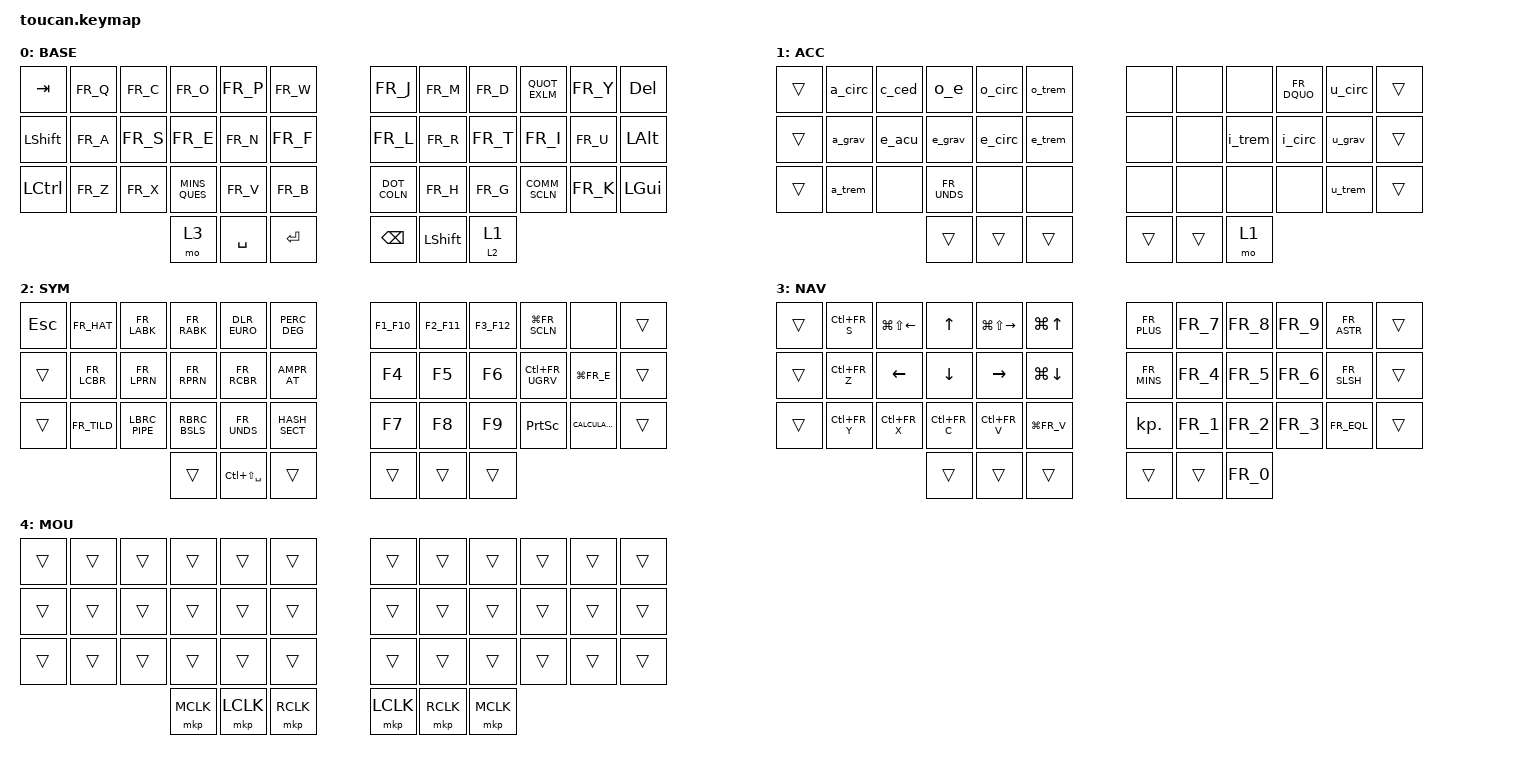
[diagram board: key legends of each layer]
#include <behaviors.dtsi>
#include <dt-bindings/zmk/bt.h>
#include <dt-bindings/zmk/keys.h>
#include <dt-bindings/zmk/pointing.h>
#include "keymap_french.h"

#define BASE 0
#define ACC  1
#define SYM  2
#define NAV  3

&sl {
    // Permet d'utiliser un modificateur (ex : Majuscule) tout en restant sur la couche symbole tant que le modificateur est maintenu.
    /delete-property/ quick-release;
};

/ {

    combos {
        compatible = "zmk,combos";

        unlock {
            bindings = <&studio_unlock>;
            key-positions = <0 11>;
        };
    };

    behaviors {

        // Sélecteur de couche : Mo(ACC) + Sl(SYM)

        mo_sl: behavior_mo_sl {
            compatible = "zmk,behavior-hold-tap";
            #binding-cells = <2>;
            flavor = "balanced";
            tapping-term-ms = <200>;
            bindings = <&mo>, <&sl>;
        };

        // Majuscule + Symboles

        // LS(') = !
        QUOT_EXLM: QUOT_EXLM { compatible = "zmk,behavior-mod-morph"; #binding-cells = <0>;
            bindings = <&kp FR_QUOT>, <&kp FR_EXLM>; mods = <(MOD_LSFT|MOD_RSFT)>; };

        // LS(-) = ?
        MINS_QUES: MINS_QUES { compatible = "zmk,behavior-mod-morph"; #binding-cells = <0>;
            bindings = <&kp FR_MINS>, <&kp FR_QUES>; mods = <(MOD_LSFT|MOD_RSFT)>; };

        // LS(.) = :
        DOT_COLN: DOT_COLN { compatible = "zmk,behavior-mod-morph"; #binding-cells = <0>;
            bindings = <&kp FR_DOT>, <&kp FR_COLN>; mods = <(MOD_LSFT|MOD_RSFT)>; };

        // LS(,) = ;
        COMM_SCLN: COMM_SCLN { compatible = "zmk,behavior-mod-morph"; #binding-cells = <0>;
            bindings = <&kp FR_COMM>, <&kp FR_SCLN>; mods = <(MOD_LSFT|MOD_RSFT)>; };

        // LS($) = €
        DLR_EURO: DLR_EURO { compatible = "zmk,behavior-mod-morph"; #binding-cells = <0>;
            bindings = <&kp FR_DLR>, <&kp FR_EURO>; mods = <(MOD_LSFT|MOD_RSFT)>; };

        // LS(%) = °
        PERC_DEG: PERC_DEG { compatible = "zmk,behavior-mod-morph"; #binding-cells = <0>;
            bindings = <&kp FR_PERC>, <&kp FR_DEG>; mods = <(MOD_LSFT|MOD_RSFT)>; };

        // LS(&) = @
        AMPR_AT: AMPR_AT { compatible = "zmk,behavior-mod-morph"; #binding-cells = <0>;
            bindings = <&kp FR_AMPR>, <&kp FR_AT>; mods = <(MOD_LSFT|MOD_RSFT)>; };

        // LS([) = |
        LBRC_PIPE: LBRC_PIPE { compatible = "zmk,behavior-mod-morph"; #binding-cells = <0>;
            bindings = <&kp FR_LBRC>, <&kp FR_PIPE>; mods = <(MOD_LSFT|MOD_RSFT)>; };

        // LS(]) = backslash
        RBRC_BSLS: RBRC_BSLS { compatible = "zmk,behavior-mod-morph"; #binding-cells = <0>;
            bindings = <&kp FR_RBRC>, <&kp FR_BSLS>; mods = <(MOD_LSFT|MOD_RSFT)>; };

        // LS(#) = §
        HASH_SECT: HASH_SECT { compatible = "zmk,behavior-mod-morph"; #binding-cells = <0>;
            bindings = <&kp FR_HASH>, <&kp FR_SECT>; mods = <(MOD_LSFT|MOD_RSFT)>; };

        // LS(F1) = F10
        F1_F10: F1_F10 { compatible = "zmk,behavior-mod-morph"; #binding-cells = <0>;
            bindings = <&kp F1>, <&kp F10>; mods = <(MOD_LSFT|MOD_RSFT)>; };

        // LS(F2) = F11
        F2_F11: F2_F11 { compatible = "zmk,behavior-mod-morph"; #binding-cells = <0>;
            bindings = <&kp F2>, <&kp F11>; mods = <(MOD_LSFT|MOD_RSFT)>; };

        // LS(F3) = F12
        F3_F12: F3_F12 { compatible = "zmk,behavior-mod-morph"; #binding-cells = <0>;
            bindings = <&kp F3>, <&kp F12>; mods = <(MOD_LSFT|MOD_RSFT)>; };

        // Lettres accentuées

        // à, À
        a_grav: a_grav { compatible = "zmk,behavior-mod-morph"; #binding-cells = <0>;
            bindings = <&kp FR_AGRV>, <&a_grav_maj>; mods = <(MOD_LSFT|MOD_RSFT)>; };
        
        // â, Â
        a_circ: a_circ { compatible = "zmk,behavior-mod-morph"; #binding-cells = <0>;
            bindings = <&a_circ_min>, <&a_circ_maj>; mods = <(MOD_LSFT|MOD_RSFT)>; };
        
        // ä, Ä
        a_trem: a_trem { compatible = "zmk,behavior-mod-morph"; #binding-cells = <0>;
            bindings = <&a_trem_min>, <&a_trem_maj>; mods = <(MOD_LSFT|MOD_RSFT)>; };
        
        // ç, Ç
        c_ced: c_ced { compatible = "zmk,behavior-mod-morph"; #binding-cells = <0>;
            bindings = <&kp FR_CCED>, <&c_ced_maj>; mods = <(MOD_LSFT|MOD_RSFT)>; };
        
        // é, É
        e_acu: e_acu { compatible = "zmk,behavior-mod-morph"; #binding-cells = <0>;
            bindings = <&kp FR_EACU>, <&e_acu_maj>; mods = <(MOD_LSFT|MOD_RSFT)>; };
        
        // è, È
        e_grav: e_grav { compatible = "zmk,behavior-mod-morph"; #binding-cells = <0>;
            bindings = <&kp FR_EGRV>, <&e_grav_maj>; mods = <(MOD_LSFT|MOD_RSFT)>; };

        // ê, Ê
        e_circ: e_circ { compatible = "zmk,behavior-mod-morph"; #binding-cells = <0>;
            bindings = <&e_circ_min>, <&e_circ_maj>; mods = <(MOD_LSFT|MOD_RSFT)>; };

        // ë, Ë
        e_trem: e_trem { compatible = "zmk,behavior-mod-morph"; #binding-cells = <0>;
            bindings = <&e_trem_min>, <&e_trem_maj>; mods = <(MOD_LSFT|MOD_RSFT)>; };

        // î, Î
        i_circ: i_circ { compatible = "zmk,behavior-mod-morph"; #binding-cells = <0>;
            bindings = <&i_circ_min>, <&i_circ_maj>; mods = <(MOD_LSFT|MOD_RSFT)>; };

        // ï, Ï
        i_trem: i_trem { compatible = "zmk,behavior-mod-morph"; #binding-cells = <0>;
            bindings = <&i_trem_min>, <&i_trem_maj>; mods = <(MOD_LSFT|MOD_RSFT)>; };

        // ô, Ô
        o_circ: o_circ { compatible = "zmk,behavior-mod-morph"; #binding-cells = <0>;
            bindings = <&o_circ_min>, <&o_circ_maj>; mods = <(MOD_LSFT|MOD_RSFT)>; };

        // ö, Ö
        o_trem: o_trem { compatible = "zmk,behavior-mod-morph"; #binding-cells = <0>;
            bindings = <&o_trem_min>, <&o_trem_maj>; mods = <(MOD_LSFT|MOD_RSFT)>; };

        // œ, Œ
        o_e: o_e { compatible = "zmk,behavior-mod-morph"; #binding-cells = <0>;
            bindings = <&o_e_min>, <&o_e_maj>; mods = <(MOD_LSFT|MOD_RSFT)>; };

        // ù, Ù
        u_grav: u_grav { compatible = "zmk,behavior-mod-morph"; #binding-cells = <0>;
            bindings = <&kp FR_UGRV>, <&u_grav_maj>; mods = <(MOD_LSFT|MOD_RSFT)>; };

        // û, Û
        u_circ: u_circ { compatible = "zmk,behavior-mod-morph"; #binding-cells = <0>;
            bindings = <&u_circ_min>, <&u_circ_maj>; mods = <(MOD_LSFT|MOD_RSFT)>; };

        // ü, Ü
        u_trem: u_trem { compatible = "zmk,behavior-mod-morph"; #binding-cells = <0>;
            bindings = <&u_trem_min>, <&u_trem_maj>; mods = <(MOD_LSFT|MOD_RSFT)>; };
    };

    macros {

        // Lettres accentuées : minuscules et Majuscules

        // à, À
        // &a_grav_min = &kp FR_AGRV
        a_grav_maj: a_grav_maj { compatible = "zmk,behavior-macro";	#binding-cells = <0>; wait-ms = <40>; tap-ms = <40>;
			bindings = <&macro_tap &kp FR_GRV &kp LS(FR_A)>; };
        
        // â, Â
        a_circ_min: a_circ_min { compatible = "zmk,behavior-macro";	#binding-cells = <0>; wait-ms = <40>; tap-ms = <40>;
			bindings = <&macro_tap &kp FR_CIRC &kp FR_A>; };
        a_circ_maj: a_circ_maj { compatible = "zmk,behavior-macro";	#binding-cells = <0>; wait-ms = <40>; tap-ms = <40>;
			bindings = <&macro_tap &kp FR_CIRC &kp LS(FR_A)>; };

        // ä, Ä
        a_trem_min: a_trem_min { compatible = "zmk,behavior-macro";	#binding-cells = <0>; wait-ms = <40>; tap-ms = <40>;
			bindings = <&macro_tap &kp FR_DIAE &kp FR_A>; };
        a_trem_maj: a_trem_maj { compatible = "zmk,behavior-macro";	#binding-cells = <0>; wait-ms = <40>; tap-ms = <40>;
			bindings = <&macro_tap &kp FR_DIAE &kp LS(FR_A)>; };

        // ç, Ç
        // &c_ced_min = &kp FR_CCED
        c_ced_maj: c_ced_maj { compatible = "zmk,behavior-macro"; #binding-cells = <0>; wait-ms = <40>; tap-ms = <40>;
			bindings = <&macro_press   &kp LALT>,
                       <&macro_tap     &kp KP_N0 &kp KP_N1 &kp KP_N9 &kp KP_N9>,
                       <&macro_release &kp LALT>; };

        // é, É
        // &e_acu_min = &kp FR_EACU
        e_acu_maj: e_acu_maj { compatible = "zmk,behavior-macro"; #binding-cells = <0>; wait-ms = <40>; tap-ms = <40>;
			bindings = <&macro_press   &kp LALT>,
                       <&macro_tap     &kp KP_N0 &kp KP_N2 &kp KP_N0 &kp KP_N1>,
                       <&macro_release &kp LALT>; };

        // è, È
        // &e_grav_min = &kp FR_EGRV
        e_grav_maj: e_grav_maj { compatible = "zmk,behavior-macro";	#binding-cells = <0>; wait-ms = <40>; tap-ms = <40>;
			bindings = <&macro_tap &kp FR_GRV &kp LS(FR_E)>; };

        // ê, Ê
        e_circ_min: e_circ_min { compatible = "zmk,behavior-macro";	#binding-cells = <0>; wait-ms = <40>; tap-ms = <40>;
			bindings = <&macro_tap &kp FR_CIRC &kp FR_E>; };
        e_circ_maj: e_circ_maj { compatible = "zmk,behavior-macro";	#binding-cells = <0>; wait-ms = <40>; tap-ms = <40>;
			bindings = <&macro_tap &kp FR_CIRC &kp LS(FR_E)>; };

        // ë, Ë
        e_trem_min: e_trem_min { compatible = "zmk,behavior-macro";	#binding-cells = <0>; wait-ms = <40>; tap-ms = <40>;
			bindings = <&macro_tap &kp FR_DIAE &kp FR_E>; };
        e_trem_maj: e_trem_maj { compatible = "zmk,behavior-macro";	#binding-cells = <0>; wait-ms = <40>; tap-ms = <40>;
			bindings = <&macro_tap &kp FR_DIAE &kp LS(FR_E)>; };

        // î, Î
        i_circ_min: i_circ_min { compatible = "zmk,behavior-macro";	#binding-cells = <0>; wait-ms = <40>; tap-ms = <40>;
			bindings = <&macro_tap &kp FR_CIRC &kp FR_I>; };
        i_circ_maj: i_circ_maj { compatible = "zmk,behavior-macro";	#binding-cells = <0>; wait-ms = <40>; tap-ms = <40>;
			bindings = <&macro_tap &kp FR_CIRC &kp LS(FR_I)>; };

        // ï, Ï
        i_trem_min: i_trem_min { compatible = "zmk,behavior-macro";	#binding-cells = <0>; wait-ms = <40>; tap-ms = <40>;
			bindings = <&macro_tap &kp FR_DIAE &kp FR_I>; };
        i_trem_maj: i_trem_maj { compatible = "zmk,behavior-macro";	#binding-cells = <0>; wait-ms = <40>; tap-ms = <40>;
			bindings = <&macro_tap &kp FR_DIAE &kp LS(FR_I)>; };

        // ô, Ô
        o_circ_min: o_circ_min { compatible = "zmk,behavior-macro";	#binding-cells = <0>; wait-ms = <40>; tap-ms = <40>;
			bindings = <&macro_tap &kp FR_CIRC &kp FR_O>; };
        o_circ_maj: o_circ_maj { compatible = "zmk,behavior-macro";	#binding-cells = <0>; wait-ms = <40>; tap-ms = <40>;
			bindings = <&macro_tap &kp FR_CIRC &kp LS(FR_O)>; };

        // ö, Ö
        o_trem_min: o_trem_min { compatible = "zmk,behavior-macro";	#binding-cells = <0>; wait-ms = <40>; tap-ms = <40>;
			bindings = <&macro_tap &kp FR_DIAE &kp FR_O>; };
        o_trem_maj: o_trem_maj { compatible = "zmk,behavior-macro";	#binding-cells = <0>; wait-ms = <40>; tap-ms = <40>;
			bindings = <&macro_tap &kp FR_DIAE &kp LS(FR_O)>; };

        // œ, Œ
        o_e_min: o_e_min { compatible = "zmk,behavior-macro"; #binding-cells = <0>; wait-ms = <40>; tap-ms = <40>;
			bindings = <&macro_press   &kp LALT>,
                       <&macro_tap     &kp KP_N0 &kp KP_N1 &kp KP_N5 &kp KP_N6>,
                       <&macro_release &kp LALT>; };
        o_e_maj: o_e_maj { compatible = "zmk,behavior-macro"; #binding-cells = <0>; wait-ms = <40>; tap-ms = <40>;
			bindings = <&macro_press   &kp LALT>,
                       <&macro_tap     &kp KP_N0 &kp KP_N1 &kp KP_N4 &kp KP_N0>,
                       <&macro_release &kp LALT>; };

        // ù, Ù
        // &u_grav_min = &kp FR_UGRV
        u_grav_maj: u_grav_maj { compatible = "zmk,behavior-macro";	#binding-cells = <0>; wait-ms = <40>; tap-ms = <40>;
			bindings = <&macro_tap &kp FR_GRV &kp LS(FR_U)>; };

        // û, Û
        u_circ_min: u_circ_min { compatible = "zmk,behavior-macro";	#binding-cells = <0>; wait-ms = <40>; tap-ms = <40>;
			bindings = <&macro_tap &kp FR_CIRC &kp FR_U>; };
        u_circ_maj: u_circ_maj { compatible = "zmk,behavior-macro";	#binding-cells = <0>; wait-ms = <40>; tap-ms = <40>;
			bindings = <&macro_tap &kp FR_CIRC &kp LS(FR_U)>; };

        // ü, Ü
        u_trem_min: u_trem_min { compatible = "zmk,behavior-macro";	#binding-cells = <0>; wait-ms = <40>; tap-ms = <40>;
			bindings = <&macro_tap &kp FR_DIAE &kp FR_U>; };
        u_trem_maj: u_trem_maj { compatible = "zmk,behavior-macro";	#binding-cells = <0>; wait-ms = <40>; tap-ms = <40>;
			bindings = <&macro_tap &kp FR_DIAE &kp LS(FR_U)>; };

    };

    keymap {
        compatible = "zmk,keymap";

        base { // Ergo-L
            display-name = "BASE";
            bindings = <
&kp TAB     &kp FR_Q    &kp FR_C    &kp FR_O    &kp FR_P    &kp FR_W    &kp FR_J    &kp FR_M    &kp FR_D    &QUOT_EXLM  &kp FR_Y    &kp DEL 
&kp LSHFT   &kp FR_A    &kp FR_S    &kp FR_E    &kp FR_N    &kp FR_F    &kp FR_L    &kp FR_R    &kp FR_T    &kp FR_I    &kp FR_U    &kp LALT 
&kp LCTRL   &kp FR_Z    &kp FR_X    &MINS_QUES  &kp FR_V    &kp FR_B    &DOT_COLN   &kp FR_H    &kp FR_G    &COMM_SCLN  &kp FR_K    &kp LGUI 
                                    &mo 3       &kp SPACE   &kp RET     &kp BSPC    &kp LSHFT   &mo_sl 2 1
            >;
        };

        acc { // Accents
            display-name = "ACC";
            bindings = <
&trans      &a_circ     &c_ced      &o_e        &o_circ     &o_trem     &none       &none       &none       &kp FR_DQUO &u_circ     &trans 
&trans      &a_grav     &e_acu      &e_grav     &e_circ     &e_trem     &none       &none       &i_trem     &i_circ     &u_grav     &trans 
&trans      &a_trem     &none       &kp FR_UNDS &none       &none       &none       &none       &none       &none       &u_trem     &trans 
                                    &trans      &trans      &trans      &trans      &trans      &mo 1
            >;
        };

        sym { // Symboles + Fonctions
            display-name = "SYM";
            bindings = <
&kp ESC     &kp FR_HAT  &kp FR_LABK &kp FR_RABK &DLR_EURO   &PERC_DEG   &F1_F10    &F2_F11     &F3_F12      &kp LG(FR_SCLN) &none               &trans 
&trans      &kp FR_LCBR &kp FR_LPRN &kp FR_RPRN &kp FR_RCBR &AMPR_AT    &kp F4     &kp F5      &kp F6       &kp LC(FR_UGRV) &kp LG(FR_E)        &trans 
&trans      &kp FR_TILD &LBRC_PIPE  &RBRC_BSLS  &kp FR_UNDS &HASH_SECT  &kp F7     &kp F8      &kp F9       &kp PRINTSCREEN &kp K_CALCULATOR    &trans 
                                    &trans   &kp LC(LS(SPACE)) &trans   &trans     &trans      &trans
            >;
        };

        nav { // Navigation + Pavé numérique
            display-name = "NAV";
            bindings = <
&trans &kp LC(FR_S) &kp LG(LS(LEFT))    &kp UP          &kp LG(LS(RIGHT))   &kp LG(UP)      &kp FR_PLUS &kp FR_7    &kp FR_8    &kp FR_9    &kp FR_ASTR &trans 
&trans &kp LC(FR_Z) &kp LEFT            &kp DOWN        &kp RIGHT           &kp LG(DOWN)    &kp FR_MINS &kp FR_4    &kp FR_5    &kp FR_6    &kp FR_SLSH &trans 
&trans &kp LC(FR_Y) &kp LC(FR_X)        &kp LC(FR_C)    &kp LC(FR_V)        &kp LG(FR_V)    &kp KP_DOT  &kp FR_1    &kp FR_2    &kp FR_3    &kp FR_EQL  &trans 
                                        &trans          &trans              &trans          &trans      &trans      &kp FR_0
            >;
        };

        mouse { // Souris
            display-name = "MOU";
            bindings = <
&trans      &trans      &trans      &trans      &trans      &trans      &trans      &trans      &trans      &trans      &trans      &trans 
&trans      &trans      &trans      &trans      &trans      &trans      &trans      &trans      &trans      &trans      &trans      &trans 
&trans      &trans      &trans      &trans      &trans      &trans      &trans      &trans      &trans      &trans      &trans      &trans 
                                    &mkp MCLK   &mkp LCLK   &mkp RCLK   &mkp LCLK   &mkp RCLK   &mkp MCLK
            >;
        };

        extra_2 { status = "reserved"; };

        extra_3 { status = "reserved"; };
    };
};

// &trans      &none       &none       &none       &none       &none       &none       &none       &none       &none       &none       &trans 
// &trans      &none       &none       &none       &none       &none       &none       &none       &none       &none       &none       &trans 
// &trans      &none       &none       &none       &none       &none       &none       &none       &none       &none       &none       &trans 
//                                     &trans      &trans      &trans      &trans      &trans      &trans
